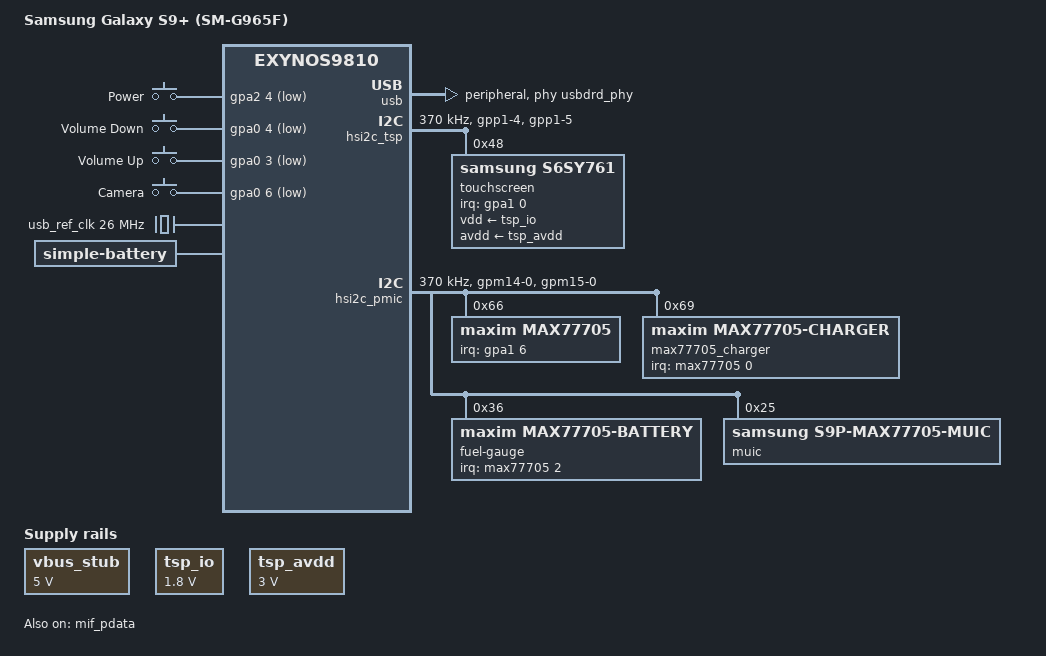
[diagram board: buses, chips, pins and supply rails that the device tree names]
// SPDX-License-Identifier: GPL-2.0 OR BSD-3-Clause
/*
 * Samsung Galaxy S9+ (star2lte/SM-G965F) device tree source
 *
 * Derived from the Galaxy S9 (starlte) source, which shares this board design.
 * The S9+ carries 6 GB instead of 4 GB, so it has one more memory bank; the
 * addresses below are the ones this device's own bootloader reports through
 * update_memory_node(), and the framebuffer base matches the bootloader's
 * s3cfb.bootloaderfb= argument.
 */

/dts-v1/;
#include "exynos9810.dtsi"
#include <dt-bindings/gpio/gpio.h>
#include <dt-bindings/input/input.h>

/* Initial per-MHz capacity calibration on this device, same CoreMark binary:
 * A55: 4174.145 iterations/s at 1150.5 MHz; M3: 7127.076 at 1066 MHz.
 * (4174.145 / 1150.5) / (7127.076 / 1066) * 1024 = 556.
 * CRCs passed and sampled clocks stayed fixed throughout both runs.
 * This is a workload-based capacity estimate, not a power/energy model. */
&cpu0 { capacity-dmips-mhz = <556>; };
&cpu1 { capacity-dmips-mhz = <556>; };
&cpu2 { capacity-dmips-mhz = <556>; };
&cpu3 { capacity-dmips-mhz = <556>; };
&cpu4 { capacity-dmips-mhz = <1024>; };
&cpu5 { capacity-dmips-mhz = <1024>; };
&cpu6 { capacity-dmips-mhz = <1024>; };
&cpu7 { capacity-dmips-mhz = <1024>; };

/ {
	model = "Samsung Galaxy S9+ (SM-G965F)";
	compatible = "samsung,star2lte", "samsung,exynos9810";
	chassis-type = "handset";

	/*
	 * sboot picks its device tree out of the boot image's DTBH table by these
	 * four values, not by "compatible". dtbTool-exynos copies them straight out
	 * of the blob, so without them the entry is all zeroes and the bootloader
	 * finds no match for Star2 rev 26. Values taken from Samsung's own
	 * exynos9810-star2lte_eur_open_26 device tree.
	 */
	model_info-chip = <0x2652>;
	model_info-platform = "android";
	model_info-subtype = "samsung";
	model_info-hw_rev = <0x1a>;
	model_info-hw_rev_end = <0xff>;

	chosen {
		#address-cells = <2>;
		#size-cells = <1>;
		ranges;

		/*
		 * Reachable only when booted through uniLoader. sboot builds
		 * the whole command line itself and overwrites whatever the
		 * boot image carries -- that is why "console=tty0 loglevel=8"
		 * in the boot image header never had any effect. uniLoader
		 * hands the kernel this device tree instead, so /chosen here
		 * is finally the one the kernel reads.
		 */
		bootargs = "console=tty0 loglevel=8 earlycon keep_bootcon ignore_loglevel panic=10";

		framebuffer@cc000000 {
			compatible = "simple-framebuffer";
			reg = <0x0 0xcc000000 (1440 * 2960 * 4)>;
			width = <1440>;
			height = <2960>;
			stride = <(1440 * 4)>;
			format = "a8r8g8b8";
			/* FB-STATUS */
		};
	};

	gpio-keys {
		compatible = "gpio-keys";

		pinctrl-0 = <&key_power &key_voldown &key_volup &key_wink>;
		pinctrl-names = "default";

		power-key {
			label = "Power";
			linux,code = <KEY_POWER>;
			gpios = <&gpa2 4 GPIO_ACTIVE_LOW>;
			wakeup-source;
		};

		voldown-key {
			label = "Volume Down";
			linux,code = <KEY_VOLUMEDOWN>;
			gpios = <&gpa0 4 GPIO_ACTIVE_LOW>;
		};

		volup-key {
			label = "Volume Up";
			linux,code = <KEY_VOLUMEUP>;
			gpios = <&gpa0 3 GPIO_ACTIVE_LOW>;
		};

		/* Bixby on stock firmware; mapped as a camera button for now. */
		wink-key {
			label = "Camera";
			linux,code = <KEY_CAMERA>;
			gpios = <&gpa0 6 GPIO_ACTIVE_LOW>;
		};
	};

	memory@80000000 {
		device_type = "memory";
		reg = <0x0 0x80000000 0x3c800000>,
		      <0x0 0xc0000000 0x20000000>,
		      <0x0 0xe1900000 0x1e700000>,
		      <0x8 0x80000000 0x80000000>,
		      <0x9 0x00000000 0x80000000>;
	};

	reserved-memory {
		#address-cells = <2>;
		#size-cells = <1>;
		ranges;

		/*
		 * Fixed firmware regions from the Samsung DT an SM-G965F runs with
		 * (read back from TWRP's /sys/firmware/fdt). uniLoader
		 * substitutes our DT, so these reservations must be carried over.
		 * Dynamic Android ION heaps are deliberately not copied here.
		 */
		sec-debug@80000000 {
			reg = <0x0 0x80000000 0x2000>;
			no-map; /* debug magic plus sboot's adjacent kaslr_region */
		};

		/* Extent of the log buffers listed in the stock boot arguments. */
		sboot-logs@91202000 {
			reg = <0x0 0x91202000 0x59a000>;
			no-map;
		};

		rkp@af800000 {
			reg = <0x0 0xaf800000 0x1800000>;
			no-map;
		};

		tima@b8000000 {
			reg = <0x0 0xb8000000 0x200000>;
			no-map;
		};

		seclog@c0000000 {
			reg = <0x0 0xc0000000 0x80000>;
			no-map;
		};

		secure-camera@e1900000 {
			reg = <0x0 0xe1900000 0x1e00000>;
			no-map;
		};

		modem@f0000000 {
			reg = <0x0 0xf0000000 0x9200000>;
			no-map;
		};

		cp-logging@f9200000 {
			reg = <0x0 0xf9200000 0x2000000>;
			no-map;
		};

		abox@fb200000 {
			reg = <0x0 0xfb200000 0x2800000>;
			no-map;
		};

		/* Split exynos_ss around our existing ramoops window. */
		snapshot-before-pstore@fda00000 {
			reg = <0x0 0xfda00000 0x1310000>;
			no-map;
		};

		snapshot-after-pstore@fed18000 {
			reg = <0x0 0xfed18000 0xae8000>;
			no-map;
		};

		camera-firmware@ff800000 {
			reg = <0x0 0xff800000 0x800000>;
			no-map;
		};

		framebuffer@cc000000 {
			reg = <0x0 0xcc000000 (1440 * 2960 * 4)>;
			no-map;
		};

		/*
		 * Every scanout buffer has to be one contiguous block below
		 * 4 GB: DECON's fetch address register is 32 bits wide and the
		 * KMS driver hands out drm_gem_dma (CMA) objects. One 1440x2960
		 * XRGB8888 frame is 16.3 MiB, and the compositor needs a triple
		 * buffered surface for the panel, another set for every virtual
		 * monitor the remote desktop adds, plus the fbdev emulation and
		 * this driver's black frame.
		 *
		 * The kernel default of 128 MiB fitted exactly one frame:
		 * measured on the running desktop, the second DRM_IOCTL_MODE_
		 * CREATE_DUMB of that size returned ENOMEM, Mesa logged "Failed
		 * to create scanout resource" and gnome-shell fell back to
		 * copying every frame through the CPU. 320 MiB leaves room for
		 * all of the above even when CMA is fragmented.
		 *
		 * Placed by hand: the region must sit below 4 GB and inside the
		 * gap between sboot-logs (ends 0x9179c000) and rkp (starts
		 * 0xaf800000), which is the largest free stretch down there.
		 */
		display_cma: linux,cma {
			compatible = "shared-dma-pool";
			reg = <0x0 0x98000000 0x14000000>;	/* 320 MiB */
			reusable;
			linux,cma-default;
		};

		/*
		 * Same window and the same split as Samsung's own exynos-snapshot
		 * log_pstore item (ramoops: attached 0x8000@0xfed10000, two 16K
		 * halves, no ECC), so the stock 4.9 kernel in TWRP can read back
		 * what this kernel wrote.
		 *
		 * The second half is a console zone here where Samsung puts pmsg.
		 * Both are plain persistent_ram ring buffers in the same format,
		 * so TWRP surfaces our continuous console log as pmsg-ramoops-0 --
		 * which means a kernel that hangs before it ever panics still
		 * leaves its boot log behind.
		 */
		ramoops@fed10000 {
			compatible = "ramoops";
			reg = <0x0 0xfed10000 0x8000>;
			record-size = <0x4000>;
			console-size = <0x4000>;
			pmsg-size = <0x0>;
			ftrace-size = <0x0>;
			ecc-size = <0x0>;
		};
	};
};

/*
 * There is no CMU driver for this SoC yet. sboot has already set FSYS0 up --
 * it loaded this very image over UFS -- so the rates are described as fixed
 * clocks rather than reprogrammed. UFS_EMBD feeds the UNIPRO mclk, from which
 * the calibration derives every PA timer, so its value has to be the real one.
 */
&{/} {
	/* Enable line from this device's working Samsung DT; voltage is fixed. */
	ufs_vcc: regulator-ufs-vcc {
		compatible = "regulator-fixed";
		regulator-name = "ufs-vcc";
		gpio = <&gpd0 2 GPIO_ACTIVE_HIGH>;
		enable-active-high;
		regulator-boot-on;
		status = "disabled"; /* UFS-STATUS */
	};

	/*
	 * CMU gate registers to open before the I2C drivers probe. From the
	 * vendor cmucal-sfr tables: PERIC0 base 0x10400000, CMGP base
	 * 0x14200000. USI05 is the touch bus at 0x104b0000, USI_CMGP03 the
	 * PMIC bus at 0x14360000.
	 */
	clock-gates {
		compatible = "s9p,clock-gates";
		/*
		 * The touch bus at 0x104b0000 is PERIC0 USI03 (0x10450000 is
		 * USI00, each USI has a "usi" and an "i2c" block 0x10000 apart;
		 * the stock aliases spi4 and hsi2c10 both point here). USI05 is
		 * 0x104f0000. Its SW_CONF is therefore usi_3 = 0x1041101c.
		 */
		s9p,gate-registers = <0x10402018>,	/* GATE_CLK_PERIC0_USI03_USI */
				     <0x14202014>,	/* GATE_CLK_USI_CMGP03 */
				     /* the whole chain above them, CMU top down to the IP ports */
				     <0x1a2420bc>,	/* GATE_CLKCMU_PERIC0_IP (CMU top) */
				     <0x1a242028>,	/* GATE_CLKCMU_CMGP_BUS (CMU top) */
				     <0x104020dc>,	/* USI03_USI IPCLK port */
				     <0x104020e0>,	/* USI03_USI PCLK port */
				     <0x142020a8>,	/* USI_CMGP03 IPCLK port */
				     <0x142020ac>,	/* USI_CMGP03 PCLK port */
		/*
		 * USB: the PHY's reference clocks, same story
		 */
					     <0x1a242064>,	/* GATE_CLKCMU_FSYS0_USB30DRD (CMU top) */
					     <0x1100206c>,	/* FSYS0 USB30DRD_REF_CLK */
					     <0x11002008>;	/* FSYS0 USBDPPHY_REF_SOC_PLL */
		/*
		 * PCIe channel 0 (WiFi) gates are deliberately NOT here: the
		 * FSYS1 PCIe gate and Q-Channel hint registers abort the bus
		 * (synchronous external abort) while the PCIe clock domain is
		 * down -- measured at QCH_CON_PCIE_GEN2_APB 0x1141302c with a
		 * panic in s9p_clkgate_init. The PCIe driver opens what it
		 * needs itself, in vendor order: PMU PCIE_PHY_CONTROL first,
		 * then gates, then the PHY.
		 */
		/*
		 * Both I2C blocks are fed from PLL_SHARED2 (MUX_CLKCMU_PERIC0_IP
		 * and MUX_CLKCMU_CMGP_BUS both select DIV_PLL_SHARED2_DIV2). The
		 * vendor clock framework in TWRP releases that PLL when its last
		 * consumer goes idle, so it may arrive switched off.
		 */
		s9p,pll-enable = <0x1a240220>;		/* PLL_CON0_PLL_SHARED2 */
		/*
		 * The combo PHY has two PMU controls. The driver releases the
		 * USB 2.0 one (0x72c); the vendor also releases the DP/USB3
		 * side (0x704), and the HS part may depend on it.
		 */
		/*
		 * USI blocks: select I2C in the sysreg SW_CONF (bit 2), release
		 * the block reset (USI_CON at +0xc4) and request its clock
		 * (USI_OPTION at +0xc8, bit 1) -- what exynos-usi does on the
		 * SoCs it supports. The gates above were already open; this is
		 * what the vendor's I2C driver did for itself.
		 */
		/*
		 * First of all: Samsung's recovery magic into INFORM2/INFORM3,
		 * long before any driver can crash the kernel. A panic or a
		 * hang then lands in TWRP on RECOVERY instead of restarting
		 * this kernel for ever; a clean reboot rewrites INFORM3
		 * through syscon-reboot-mode anyway.
		 */
		s9p,set-registers = <0x14060808 0x12345678>,	/* PMU INFORM2 */
				    <0x1406080c 0x12345674>,	/* PMU INFORM3 = recovery */
				    /*
				     * DECON HW_SW_TRIG_CONTROL = 0x1281, the
				     * write uniLoader's soc_init() does on this
				     * SoC ("allow framebuffer to be written
				     * to"). Without it the simple framebuffer
				     * in 0xcc000000 updates but the panel never
				     * shows the new content.
				     */
				    <0x16030070 0x1281>,
				    /*
				     * sboot and TWRP's kernel leave both cluster
				     * watchdogs armed. Cluster 0's is stopped here;
				     * cluster 1's stays armed and is taken over by
				     * the watchdog node below, so a boot that wedges
				     * the SoC resets instead of hanging for ever.
				     */
				    <0x10050000 0x0>,	/* WDT cluster 0 WTCON */
				    /*
				     * Arm cluster 1's watchdog here, in the
				     * first instructions of the boot, instead
				     * of trusting whatever sboot left. The
				     * s3c2410_wdt driver takes it over at
				     * 1.3 s, but the warm-reboot hang happens
				     * before that, and an unarmed watchdog
				     * means the device stays on the Samsung
				     * logo until someone holds the buttons.
				     *
				     * 26 MHz / (255+1) / 128 = 793 Hz, so
				     * 23805 counts is 30 s -- twice the normal
				     * time to userspace. WTDAT and WTCNT are
				     * loaded before WTCON starts it.
				     */
				    <0x10060004 23805>,	/* WDT1 WTDAT */
				    <0x10060008 23805>,	/* WDT1 WTCNT */
				    <0x10060000 0xff39>,	/* WDT1 WTCON: pres 255,
								 * div 128, enable, reset */
				    <0x1041101c 0x4>,	/* PERIC0 USI03 SW_CONF: I2C */
				    <0x14212030 0x4>,	/* CMGP USI03 SW_CONF: I2C */
				    <0x104b00c4 0x0>,	/* USI03 USI_CON: reset off */
				    <0x143600c4 0x0>;	/* USI_CMGP03 USI_CON: reset off */
		/*
		 * Unmask the cluster-1 watchdog's reset request in the PMU.
		 * sboot leaves bit 23 of MASK_WDT_RESET_REQUEST set, and with
		 * it set an expired watchdog raises nothing -- which is why
		 * arming the watchdog alone changed nothing about the hang.
		 */
		s9p,clear-registers = <0x1406040c 0x800000>;

		s9p,or-registers = <0x14060704 0x1>,	/* PMU USB3/DP PHY control */
				   <0x104b00c8 0x2>,	/* USI03 USI_OPTION: CLKREQ_ON */
				   <0x143600c8 0x2>;	/* USI_CMGP03 USI_OPTION: CLKREQ_ON */
		/*
		 * Read-only: the muxes and dividers behind the fixed-clock
		 * stand-ins, so the real rates can be worked out from the log.
		 */
		s9p,dump-registers = <0x14060404>,	/* PMU RST_STAT: why we are here */
				     <0x10050000>,	/* WDT0 WTCON */
				     <0x10050004>,	/* WDT0 WTDAT */
				     <0x10050008>,	/* WDT0 WTCNT */
				     <0x10060000>,	/* WDT1 WTCON */
				     <0x10060004>,	/* WDT1 WTDAT */
				     <0x10060008>,	/* WDT1 WTCNT */
				     <0x1a240120>,	/* PLL_CON0_PLL_SHARED0 */
				     <0x1a240220>,	/* PLL_CON0_PLL_SHARED2 */
				     <0x1a2418dc>,	/* DIV_PLL_SHARED0_DIV4 */
				     <0x1a2418ec>,	/* DIV_PLL_SHARED2_DIV2 */
				     <0x1a2410ac>,	/* MUX_CLKCMU_PERIC0_BUS */
				     <0x1a2418b0>,	/* DIV_CLKCMU_PERIC0_BUS */
				     <0x14201004>,	/* MUX_CLK_CMGP_BUS */
				     <0x1a2410b0>,	/* MUX_CLKCMU_PERIC0_IP */
				     <0x1a2418b4>,	/* DIV_CLKCMU_PERIC0_IP */
				     <0x1a2420bc>,	/* GATE_CLKCMU_PERIC0_IP */
				     <0x10400100>,	/* PERIC0 BUS_USER mux */
				     <0x10400120>,	/* PERIC0 IP_USER mux */
				     <0x10401810>,	/* DIV_CLK_PERIC0_USI03_USI */
				     <0x10403038>,	/* QCH_CON_USI03_USI */
				     /* I2C pins as TWRP left them: CON/DAT/PUD */
				     <0x10430020>,	/* gpp1 CON (touch SCL/SDA = gpp1-4/5) */
				     <0x10430024>,	/* gpp1 DAT */
				     <0x10430028>,	/* gpp1 PUD */
				     <0x14220180>,	/* gpm14 CON (PMIC SCL) */
				     <0x14220184>,	/* gpm14 DAT */
				     <0x14220188>,	/* gpm14 PUD */
				     <0x142201a0>,	/* gpm15 CON (PMIC SDA) */
				     <0x142201a4>,	/* gpm15 DAT */
				     <0x142201a8>,	/* gpm15 PUD */
				     <0x1a241028>,	/* MUX_CLKCMU_CMGP_BUS */
				     <0x1a241824>,	/* DIV_CLKCMU_CMGP_BUS */
				     <0x14200100>,	/* CMGP BUS_USER mux */
				     <0x14200120>,	/* CMGP DLL_USER mux */
				     <0x14201018>,	/* MUX_CLK_USI_CMGP03 */
				     <0x14201814>,	/* DIV_CLK_USI_CMGP03 */
				     <0x142020a8>,	/* USI_CMGP03 IPCLK gate */
				     <0x142020ac>,	/* USI_CMGP03 PCLK gate */
				     <0x14203050>,	/* QCH_CON_USI_CMGP03 */
				     <0x1a241060>,	/* MUX_CLKCMU_FSYS0_USB30DRD */
				     <0x1a241858>,	/* DIV_CLKCMU_FSYS0_USB30DRD */
					     <0x110001e0>,	/* FSYS0 USB30DRD_USER mux */
					     <0x1100304c>,	/* QCH USB30DRD_CTRL */
					     <0x11003050>,	/* QCH USB30DRD_LINK */
					     <0x11003054>,	/* QCH USBDPPHY */
					     <0x11003058>,	/* QCH USBPCS */
					     /* PCIe mux/divider/QCH reads abort while the
					      * PCIe domain is down -- see gate-registers note. */
					     <0x14064044>,	/* PMU EMBEDDED_G3D_STATUS */
				     <0x17400140>,	/* PLL_CON0_PLL_G3D */
				     <0x17400100>;	/* MUX_CLKCMU_EMBEDDED_G3D_USER */
	};

	hsi2c_clk_stub: clock-hsi2c-stub {
		compatible = "fixed-clock";
		#clock-cells = <0>;
		clock-frequency = <200000000>;
	};

	/* the cluster watchdogs count on the 26 MHz crystal (stock rate_watchdog = OSCCLK) */
	wdt_clk: clock-wdt {
		compatible = "fixed-clock";
		#clock-cells = <0>;
		clock-frequency = <26000000>;
	};
};

&soc {
	/*
	 * Cluster 1's watchdog, left armed by sboot and taken over here.
	 *
	 * Roughly every second warm reboot out of Ubuntu wedges somewhere in
	 * the driver probe phase -- after the clock gates are opened at 0.28 s
	 * and before the initramfs brings up the USB gadget at about 3 s. No
	 * log survives it (sboot clears the pstore region), and with no
	 * watchdog running the device simply stays on the Samsung logo until
	 * someone holds Power and Volume Down for ten seconds.
	 *
	 * Leaving this one armed turns that into a reset. INFORM3 already
	 * carries the recovery magic by then (the clock-gates node writes it
	 * first thing), so the reset lands in TWRP, which is reachable over
	 * USB instead of needing the buttons.
	 *
	 * Register offsets and the SPI number are from the device's own Samsung
	 * DT (read back from TWRP, node watchdog_cl1). The
	 * exynos7 variant of s3c2410_wdt is the matching one: PMU mask bit 23
	 * at 0x040c and reset status bit 23 at 0x0404.
	 */
	watchdog_cl1: watchdog@10060000 {
		compatible = "samsung,exynos7-wdt";
		reg = <0x10060000 0x100>;
		interrupts = <GIC_SPI 465 IRQ_TYPE_LEVEL_HIGH>;
		clocks = <&wdt_clk>;
		clock-names = "watchdog";
		samsung,syscon-phandle = <&pmu_system_controller>;
		/*
		 * Long enough that the userspace ping (systemd's
		 * RuntimeWatchdogSec) is comfortably inside it even on a slow
		 * boot, short enough that a wedge is over in a minute.
		 */
		timeout-sec = <60>;
	};

	/*
	 * Multi-core timer, in the always-on domain (vendor node mct@10040000,
	 * counting at 26 MHz from sboot). On arm64 mainline registers it below
	 * the arch timer, so ticks and the clocksource stay on the arch timer;
	 * what it adds is its global comparator as the tick broadcast device.
	 * A core powered down by the C2 idle state of extras/cpu-idle loses its
	 * arch timer, and without a real broadcast device the hrtimer fallback
	 * pins whichever core arms it, which then never reaches C2.
	 * SPI 466..469 are the four global comparators, 470..477 the local
	 * timers of CPU0..7.
	 */
	timer@10040000 {
		compatible = "samsung,exynos4210-mct";
		reg = <0x10040000 0x800>;
		interrupts = <GIC_SPI 466 IRQ_TYPE_LEVEL_HIGH>,
			     <GIC_SPI 467 IRQ_TYPE_LEVEL_HIGH>,
			     <GIC_SPI 468 IRQ_TYPE_LEVEL_HIGH>,
			     <GIC_SPI 469 IRQ_TYPE_LEVEL_HIGH>,
			     <GIC_SPI 470 IRQ_TYPE_LEVEL_HIGH>,
			     <GIC_SPI 471 IRQ_TYPE_LEVEL_HIGH>,
			     <GIC_SPI 472 IRQ_TYPE_LEVEL_HIGH>,
			     <GIC_SPI 473 IRQ_TYPE_LEVEL_HIGH>,
			     <GIC_SPI 474 IRQ_TYPE_LEVEL_HIGH>,
			     <GIC_SPI 475 IRQ_TYPE_LEVEL_HIGH>,
			     <GIC_SPI 476 IRQ_TYPE_LEVEL_HIGH>,
			     <GIC_SPI 477 IRQ_TYPE_LEVEL_HIGH>;
		samsung,local-timers = <0 1 2 3 4 5 6 7>;
		clocks = <&wdt_clk>, <&wdt_clk>;
		clock-names = "fin_pll", "mct";
	};
};

/*
 * PSCI CPU_SUSPEND is not validated on this port. The previous idle-state
 * experiment stalled during boot; keep every CPU on architectural WFI.
 * CPU frequency/voltage scaling and GPU DVFS remain independent and enabled.
 */


&{/} {

	/* 26 MHz crystal, the "ext_xtal" the stock PHY node refers to. */
	usb_ref_clk: clock-usb-ref {
		compatible = "fixed-clock";
		#clock-cells = <0>;
		clock-frequency = <26000000>;
	};

	/* Device mode only; the driver insists on the handles regardless. */
	vbus_stub: regulator-vbus-stub {
		compatible = "regulator-fixed";
		regulator-name = "vbus-stub";
		regulator-min-microvolt = <5000000>;
		regulator-max-microvolt = <5000000>;
	};

	battery: battery {
		compatible = "simple-battery";
		device-chemistry = "lithium-ion";
		voltage-min-design-microvolt = <3400000>;
		voltage-max-design-microvolt = <4400000>;
		energy-full-design-microwatt-hours = <13480000>;
		charge-full-design-microamp-hours = <3500000>;
		constant-charge-current-max-microamp = <2150000>;
		constant-charge-voltage-max-microvolt = <4400000>;
	};

	/* Both LDOs are left on by sboot; the driver only needs the handles. */
	tsp_io: regulator-tsp-io {
		compatible = "regulator-fixed";
		regulator-name = "tsp_io";
		regulator-min-microvolt = <1800000>;
		regulator-max-microvolt = <1800000>;
		regulator-always-on;
		regulator-boot-on;
	};

	tsp_avdd: regulator-tsp-avdd {
		compatible = "regulator-fixed";
		regulator-name = "tsp_avdd";
		regulator-min-microvolt = <3000000>;
		regulator-max-microvolt = <3000000>;
		regulator-always-on;
		regulator-boot-on;
	};

	ufs_clk_hci: clock-ufs-hci {
		compatible = "fixed-clock";
		#clock-cells = <0>;
		clock-frequency = <166500000>;
		clock-output-names = "GATE_UFS_EMBD";
	};

	ufs_clk_unipro: clock-ufs-unipro {
		compatible = "fixed-clock";
		#clock-cells = <0>;
		clock-frequency = <166500000>;
		clock-output-names = "UFS_EMBD";
	};
};

&pinctrl_fsys0 {
	ufs_rst_n: ufs-reset {
		samsung,pins = "gpf0-1";
		samsung,pin-function = <2>;
		samsung,pin-pud = <0>;
	};

	ufs_refclk_out: ufs-refclk {
		samsung,pins = "gpf0-0";
		samsung,pin-function = <2>;
		samsung,pin-pud = <0>;
	};
};

&soc {
	sysreg_fsys0: syscon@11010000 {
		compatible = "samsung,exynos9810-fsys0-sysreg", "syscon";
		reg = <0x11010000 0x1000>;
	};

	/*
	 * USB 2.0 PHY. TWRP's kernel powers the PHY down on reboot, so unlike
	 * the UFS clocks it cannot be inherited. The driver replays the vendor
	 * CAL sequence for this exact PHY revision (0x300/0x400) and releases
	 * both PMU isolation bits (0x72c USB2, 0x704 USB3/DP). USB 2.0 only;
	 * the SuperSpeed PMA stays powered down.
	 */
	usbdrd_phy: phy@11100000 {
		compatible = "samsung,exynos9810-usbdrd-phy";
		reg = <0x11100000 0x200>;
		clocks = <&usb_ref_clk>, <&hsi2c_clk_stub>;
		clock-names = "ref", "phy";
		samsung,pmu-syscon = <&pmu_system_controller>;
		#phy-cells = <1>;
	};

	usb: usb@10c00000 {
		compatible = "snps,dwc3";
		reg = <0x10c00000 0x10000>;
		interrupts = <GIC_SPI 244 IRQ_TYPE_LEVEL_HIGH>;
		phys = <&usbdrd_phy 0>;
		phy-names = "usb2-phy";
		dr_mode = "peripheral";
		maximum-speed = "high-speed";
		snps,dis_u2_susphy_quirk;
		snps,dis_u3_susphy_quirk;
		snps,dis-u2-freeclk-exists-quirk;
		snps,quirk-frame-length-adjustment = <0x20>;
		status = "okay";
	};

	/*
	 * Two of the eight HSI2C controllers, for the touch panel and the
	 * MAX77705 PMIC. Both are USIv2 blocks; the s9p clock-gates node above
	 * selects I2C in their SW_CONF and releases the USI reset. The clocks
	 * are fixed-clock stand-ins (stock default-clk = 200 MHz); the rate
	 * only feeds the SCL divider.
	 *
	 * The controller is the "AutoV9" generation of the IP: transfer-done
	 * interrupt in bit 7, 64-deep FIFO, and SCL = IPCLK / ((CLK_DIV+1)*16)
	 * with CLK_DIV in TIMING_FS3[23:16] (vendor exynos5_i2c_set_timing).
	 * The exynos5 flavour waits on the wrong interrupt bit, the 8895
	 * flavour computes a CLK_DIV of 0 (12.5 MHz SCL): both end in
	 * "tx timeout". 370 kHz mirrors the vendor's fast-mode rate.
	 */
	hsi2c_tsp: i2c@104b0000 {
		compatible = "samsung,exynosautov9-hsi2c";
		reg = <0x104b0000 0x1000>;
		interrupts = <GIC_SPI 404 IRQ_TYPE_LEVEL_HIGH>;
		#address-cells = <1>;
		#size-cells = <0>;
		clocks = <&hsi2c_clk_stub>, <&hsi2c_clk_stub>;
		clock-names = "hsi2c", "hsi2c_pclk";
		clock-frequency = <370000>;
		pinctrl-names = "default";
		pinctrl-0 = <&hsi2c10_bus>;
		status = "okay";

		touchscreen@48 {
			compatible = "samsung,s6sy761";
			reg = <0x48>;
			interrupt-parent = <&gpa1>;
			interrupts = <0 IRQ_TYPE_LEVEL_LOW>;
			pinctrl-names = "default";
			pinctrl-0 = <&tsp_irq>;
			vdd-supply = <&tsp_io>;
			avdd-supply = <&tsp_avdd>;
			touchscreen-size-x = <4096>; /* firmware reports 12-bit coordinates, not pixels */
			touchscreen-size-y = <4096>;
		};
	};

	hsi2c_pmic: i2c@14360000 {
		compatible = "samsung,exynosautov9-hsi2c";
		reg = <0x14360000 0x1000>;
		interrupts = <GIC_SPI 6 IRQ_TYPE_LEVEL_HIGH>;
		#address-cells = <1>;
		#size-cells = <0>;
		clocks = <&hsi2c_clk_stub>, <&hsi2c_clk_stub>;
		clock-names = "hsi2c", "hsi2c_pclk";
		clock-frequency = <370000>;
		pinctrl-names = "default";
		pinctrl-0 = <&hsi2c40_bus>;
		status = "okay";

		/*
		 * MAX77705: one external IRQ (gpa1-6) demultiplexed by the
		 * MFD into charger (0), topsys (1), fuel gauge (2), USB-C (3).
		 * Charger and fuel gauge are separate I2C addresses that take
		 * their interrupts from the MFD's domain.
		 */
		max77705: pmic@66 {
			compatible = "maxim,max77705";
			reg = <0x66>;
			interrupt-parent = <&gpa1>;
			interrupts = <6 IRQ_TYPE_LEVEL_LOW>;
			pinctrl-names = "default";
			pinctrl-0 = <&pmic_irq>;
			interrupt-controller;
			#interrupt-cells = <1>;
		};

		max77705_charger: charger@69 {
			compatible = "maxim,max77705-charger";
			reg = <0x69>;
			monitored-battery = <&battery>;
			interrupt-parent = <&max77705>;
			interrupts = <0>;
		};

		fuel-gauge@36 {
			compatible = "maxim,max77705-battery";
			reg = <0x36>;
			maxim,rsns-microohm = <5000>;
			monitored-battery = <&battery>;
			power-supplies = <&max77705_charger>;
			interrupt-parent = <&max77705>;
			interrupts = <2>;
		};

		/*
		 * The Type-C MCU inside the MAX77705. Its D+/D- switches
		 * default to "open" after the reset TWRP's kernel gives it
		 * on reboot; this routes them to the AP so the DWC3 gadget
		 * is visible on the connector.
		 */
		muic@25 {
			compatible = "samsung,s9p-max77705-muic";
			reg = <0x25>;
		};
	};

	ufs: ufs@11120000 {
		compatible = "samsung,exynos9810-ufs";
		reg = <0x11120000 0x200>,	/* standard HCI */
		      <0x11121100 0x200>,	/* vendor specific HCI */
		      <0x11110000 0x8000>,	/* UNIPRO */
		      /*
		       * Stock says 0x100 because the vendor only reaches the
		       * protector through SMC calls. We program its region
		       * registers directly, and those sit at 0x200..0x20c.
		       */
		      <0x11130000 0x300>,	/* UFS protector */
		      <0x11124000 0x800>;	/* PHY (PMA) */
		reg-names = "hci", "vs_hci", "unipro", "ufsp", "pma";
		interrupts = <GIC_SPI 242 IRQ_TYPE_LEVEL_HIGH>;
		pinctrl-names = "default";
		pinctrl-0 = <&ufs_rst_n &ufs_refclk_out>;
		vcc-supply = <&ufs_vcc>;
		clocks = <&ufs_clk_hci>, <&ufs_clk_unipro>;
		clock-names = "GATE_UFS_EMBD", "UFS_EMBD";
		/*
		 * Required, even though nothing here is scaled: without
		 * freq-table-hz, ufshcd_parse_clock_info() logs "freq-table-hz
		 * property not specified" and returns before it builds
		 * clk_list_head at all, so the variant driver then finds no
		 * clocks and fails with -EINVAL. One pair of zeroes per clock
		 * means "present, do not scale" -- which is the only honest
		 * answer while these are fixed-clocks standing in for a CMU
		 * driver.
		 */
		freq-table-hz = <0 0>, <0 0>;
		/* UFS_PHY_CONTROL: bit 0 bypasses the PHY's isolation */
		samsung,pmu-syscon = <&pmu_system_controller 0x724>;
		/* FSYS0 sysreg: IO coherency bits, must match dma-coherent */
		samsung,sysreg = <&sysreg_fsys0 0x700 0x300 0x300>;
		/* Stock DT value. Revision 5 has no alternative refclk path. */
		hw-rev = <5>;
		samsung,pmd-attr-lane = /bits/ 8 <2>;
		samsung,pmd-attr-gear = /bits/ 8 <3>;
		dma-coherent;
		/*
		 * Disabled by default for the same reason as the GPU: without a
		 * CMU driver nothing here knows whether sboot left FSYS0 clocked,
		 * and a read into a gated block hangs the bus silently instead of
		 * failing. The build turns it on with UFS=1.
		 */
		status = "disabled"; /* UFS-STATUS */
	};
};

/*
 * Mali-G72 MP18. sboot leaves the G3D power domain off, so the domain has to
 * come up through the PMU before any register in the block answers -- and a
 * read into an unpowered block is a bus hang, not an error. The node therefore
 * starts disabled and the build turns it on (GPU=1) once the rest of the boot
 * is known good.
 */
&soc {
	/*
	 * DECON0 plus the six DPU_DMA channels. sboot leaves DECON scanning
	 * out the boot framebuffer through DSIM0 with the panel configured;
	 * the s9p-decon driver finds that window and takes the scanout over.
	 * While the node is off, the simple framebuffer in /chosen serves the
	 * display instead; the build switches with DECON=1.
	 */
	decon@16030000 {
		compatible = "samsung,exynos9810-decon";
		reg = <0x16030000 0x10000>,	/* DECON0 + blender windows */
		      <0x16070000 0x7000>;	/* DPU_DMA common + IDMA channels
						 * 0..5 at 0x16071000+0x1000*ch */
		interrupts = <GIC_SPI 182 IRQ_TYPE_LEVEL_HIGH>,	/* frame start */
			     <GIC_SPI 183 IRQ_TYPE_LEVEL_HIGH>,	/* frame done */
			     <GIC_SPI 188 IRQ_TYPE_LEVEL_HIGH>;	/* extra */
		status = "disabled"; /* DECON-STATUS */
	};

	pd_g3d: power-domain@14064040 {
		/*
		 * Own driver: the vendor sequence drives the always-on
		 * CMU_G3D block around the PMU write and has EL3 restore the
		 * domain's TrustZone protection afterwards. The generic
		 * exynos5433-pd (four-bit LOCAL_PWR_CFG, which this is) does
		 * only the PMU part, and the first GPU register access then
		 * ends in an SError.
		 */
		compatible = "samsung,exynos9810-g3d-pd";
		reg = <0x14064040 0x8>,		/* PMU EMBEDDED_G3D_CONFIGURATION/STATUS */
		      <0x17400000 0x2000>,	/* CMU_G3D: PLL_G3D, muxes, dividers */
		      <0x14060000 0x5000>;	/* PMU: vendor G3D low-power prerequisites */
		#power-domain-cells = <0>;
		label = "G3D";
	};

	gpu: gpu@17500000 {
		compatible = "samsung,exynos9810-mali", "arm,mali-bifrost";
		reg = <0x17500000 0x5000>;
		interrupts = <GIC_SPI 282 IRQ_TYPE_LEVEL_HIGH>,
			     <GIC_SPI 281 IRQ_TYPE_LEVEL_HIGH>,
			     <GIC_SPI 283 IRQ_TYPE_LEVEL_HIGH>;
		interrupt-names = "job", "mmu", "gpu";
		clocks = <&g3d_clk>;
		clock-names = "core";
		operating-points-v2 = <&gpu_opp_table>;
		power-domains = <&pd_g3d>;
		status = "disabled"; /* GPU-STATUS */

		/*
		 * The stock DVFS points this port has validated. The voltage
		 * is the same 950 mV at every step on purpose: s9p-g3d holds
		 * BUCK6 there, because the lower stock voltages are what made
		 * Panfrost throw DATA_INVALID_FAULTs. What the lower steps buy
		 * is dynamic power and heat, which is the part that matters
		 * when the compositor needs a few milliseconds of GPU a frame.
		 *
		 * The table has to be a child of the GPU node, not a sibling.
		 * fw_devlink treats operating-points-v2 as a supplier link, and
		 * a standalone table node never gets a driver -- measured, that
		 * held the GPU's probe back until the deferred-probe timeout
		 * expired 14 seconds into the boot, by which time gdm had
		 * already started the session without a render node and the
		 * desktop fell over. As a child the link is internal and the
		 * GPU probes immediately.
		 */
		gpu_opp_table: opp-table {
			compatible = "operating-points-v2";

			opp-260000000 {
				opp-hz = /bits/ 64 <260000000>;
				opp-microvolt = <950000>;
			};
			opp-455000000 {
				opp-hz = /bits/ 64 <455000000>;
				opp-microvolt = <950000>;
			};
			opp-572000000 {
				opp-hz = /bits/ 64 <572000000>;
				opp-microvolt = <950000>;
			};
		};
	};
};

&{/} {
	/*
	 * The G3D PLL as a clock, provided by s9p-g3d. Describing it as a
	 * fixed 26 MHz clock (which is what the mux reads out of reset) left
	 * Panfrost with no operating points, so it never built a devfreq and
	 * the PLL stayed at its 572 MHz maximum for the whole uptime -- the
	 * GPU drew full power while the desktop was idle.
	 */
	g3d_clk: clock-g3d {
		compatible = "samsung,exynos9810-g3d-clock";
		#clock-cells = <0>;
		clock-output-names = "g3d";
	};
};

/*
 * PCIe channel 0: the WiFi root complex (BCM4361). Channel 1 at 0x116b0000
 * belongs to the modem and is not described here.
 *
 * No clock driver: the FSYS1/CMU gates the block sits behind are opened by
 * the global clock-gates node above (register list in its comment). The PHY
 * is not a struct phy provider either; the driver replays Samsung's CAL
 * sequence (pci-exynos9810_cal.c, channel 0) through the phy/pcs windows
 * and the ELBI reset lines, after releasing the PHY's PMU isolation.
 *
 * use-cache-coherency = true in Samsung's tree: the FSYS1 sysreg snoop bits
 * (+0x700 [9:8], set sharable by the driver) put this master in the SSK
 * domain, hence dma-coherent. No dma-ranges: like the stock tree this RC
 * passes endpoint DMA through untranslated (PCI address = physical RAM
 * address); the device is 32-bit DMA capable and the sub-4 GB banks cover
 * it.
 *
 * Legacy INTx only, like the stock tree (use-msi = "false"): the BCM4361
 * firmware does not signal MSI. INTA-D of the endpoint map onto the port's
 * own interrupt-controller child; the driver dispatches them from the
 * ELBI pulse status behind the one GIC line.
 *
 * The node starts disabled: a read into a gated, unpowered block is a bus
 * hang, not an error, and PERST# drives a module. The build turns it on
 * with WLAN=1.
 */
&soc {
	sysreg_fsys1: syscon@11410000 {
		compatible = "samsung,exynos9810-fsys1-sysreg", "syscon";
		/* size from the stock DT; covers +0x700 snoop and +0x1044 PHY window */
		reg = <0x11410000 0x1200>;
	};

	pcie_wlan: pcie@116a0000 {
		compatible = "samsung,exynos9810-pcie";
		reg = <0x116a0000 0x1000>,	/* elbi */
		      <0x116d0000 0x1000>,	/* phy (PMA) */
		      <0x116c0000 0x1fc>,	/* pcs */
		      <0x11700000 0x1000>,	/* dbi */
		      <0x127fe000 0x2000>;	/* config window */
		reg-names = "elbi", "phy", "pcs", "dbi", "config";
		interrupts = <GIC_SPI 253 IRQ_TYPE_LEVEL_HIGH>;
		interrupt-names = "intr";
		#address-cells = <3>;
		#size-cells = <2>;
		device_type = "pci";
		/* stock tree: 16 MB MEM window, identity mapped, no I/O window */
		ranges = <0x82000000 0x0 0x11800000 0x11800000 0x0 0xff0000>;
		#interrupt-cells = <1>;
		interrupt-map-mask = <0 0 0 0x7>;
		interrupt-map = <0 0 0 1 &pcie_wlan_intc 0>,
				<0 0 0 2 &pcie_wlan_intc 1>,
				<0 0 0 3 &pcie_wlan_intc 2>,
				<0 0 0 4 &pcie_wlan_intc 3>;
		num-lanes = <1>;
		max-link-speed = <2>;		/* Gen2 */
		samsung,pmu-syscon = <&pmu_system_controller>;
		samsung,fsys-sysreg = <&sysreg_fsys1>;
		perst-gpios = <&gpf2 2 GPIO_ACTIVE_LOW>;
		enable-gpios = <&gpg0 5 GPIO_ACTIVE_HIGH>;	/* WL_REG_ON, 100 ms before power-on */
		pinctrl-names = "default";
		pinctrl-0 = <&pcie0_clkreq &pcie0_perst>;
		/*
		 * Not dma-coherent: with the property set, the dongle read
		 * stale RAM for every host-to-dongle ring item (each one came
		 * back as ring status BADOPTION) while its own writes to the
		 * host arrived fine. Cache maintenance around DMA costs little
		 * at this link's data rates.
		 */
		status = "disabled"; /* WLAN-STATUS */

		pcie_wlan_intc: legacy-interrupt-controller {
			interrupt-controller;
			#address-cells = <0>;
			#interrupt-cells = <1>;
		};
	};
};

&oscclk {
	clock-frequency = <26000000>;
};

&pmu_system_controller {
	/*
	 * sboot reads its boot target out of INFORM3 (PMU + 0x80c) using
	 * Samsung's sec_reboot magic; INFORM2 has to say "this was a reset",
	 * or the bootloader drops into low-power charging instead.
	 */
	reboot-mode {
		compatible = "syscon-reboot-mode";
		offset = <0x080c>;
		mode-normal = <0x12345670>;
		mode-recovery = <0x12345674>;
		mode-download = <0x12345671>;
		mode-bootloader = <0x1234567d>;
	};
};

/* I2C pin groups, straight from the stock device tree (function 2, no pull). */
&pinctrl_peric0 {
	hsi2c10_bus: hsi2c10-bus-pins {
		samsung,pins = "gpp1-4", "gpp1-5";
		samsung,pin-function = <2>;
		samsung,pin-pud = <EXYNOS_PIN_PULL_NONE>;
		samsung,pin-drv = <EXYNOS5420_PIN_DRV_LV1>;
	};
};

&pinctrl_cmgp {
	hsi2c40_bus: hsi2c40-bus-pins {
		samsung,pins = "gpm14-0", "gpm15-0";
		samsung,pin-function = <EXYNOS_PIN_FUNC_2>;
		samsung,pin-pud = <EXYNOS_PIN_PULL_NONE>;
		samsung,pin-drv = <EXYNOS5420_PIN_DRV_LV1>;
	};
};

/* PCIe channel 0 pins, straight from the stock device tree (FSYS1 banks). */
&pinctrl_fsys1 {
	pcie0_clkreq: pcie0-clkreq-pins {
		samsung,pins = "gpf2-0";
		samsung,pin-function = <EXYNOS_PIN_FUNC_2>;
		samsung,pin-pud = <EXYNOS_PIN_PULL_UP>;
		samsung,pin-drv = <EXYNOS5420_PIN_DRV_LV3>;
	};

	/* PERST#: clamped low (= asserted) from pinctrl apply time on */
	pcie0_perst: pcie0-perst-pins {
		samsung,pins = "gpf2-2";
		samsung,pin-function = <EXYNOS_PIN_FUNC_OUTPUT>;
		samsung,pin-drv = <EXYNOS5420_PIN_DRV_LV3>;
	};
};

&pinctrl_alive {
	tsp_irq: tsp-irq-pins {
		samsung,pins = "gpa1-0";
		samsung,pin-function = <EXYNOS_PIN_FUNC_EINT>;
		samsung,pin-pud = <EXYNOS_PIN_PULL_NONE>;
		samsung,pin-drv = <EXYNOS5420_PIN_DRV_LV1>;
	};

	pmic_irq: pmic-irq-pins {
		samsung,pins = "gpa1-6";
		samsung,pin-function = <EXYNOS_PIN_FUNC_EINT>;
		samsung,pin-pud = <EXYNOS_PIN_PULL_NONE>;
		samsung,pin-drv = <EXYNOS5420_PIN_DRV_LV1>;
	};

	key_power: key-power-pins {
		samsung,pins = "gpa2-4";
		samsung,pin-function = <EXYNOS_PIN_FUNC_EINT>;
		samsung,pin-pud = <EXYNOS_PIN_PULL_UP>;
		samsung,pin-drv = <EXYNOS5420_PIN_DRV_LV1>;
	};

	key_voldown: key-voldown-pins {
		samsung,pins = "gpa0-4";
		samsung,pin-function = <EXYNOS_PIN_FUNC_EINT>;
		samsung,pin-pud = <EXYNOS_PIN_PULL_UP>;
		samsung,pin-drv = <EXYNOS5420_PIN_DRV_LV1>;
	};

	key_volup: key-volup-pins {
		samsung,pins = "gpa0-3";
		samsung,pin-function = <EXYNOS_PIN_FUNC_EINT>;
		samsung,pin-pud = <EXYNOS_PIN_PULL_UP>;
		samsung,pin-drv = <EXYNOS5420_PIN_DRV_LV1>;
	};

	key_wink: key-wink-pins {
		samsung,pins = "gpa0-6";
		samsung,pin-function = <EXYNOS_PIN_FUNC_EINT>;
		samsung,pin-pud = <EXYNOS_PIN_PULL_UP>;
		samsung,pin-drv = <EXYNOS5420_PIN_DRV_LV1>;
	};
};

/*
 * Modem (Shannon CP): the nodes Samsung's modem_v1, mcu_ipc and shm_ipc
 * drivers read (src/modem, s9p-modem.ko), copied from the SM-G965F's stock
 * device tree. Dropped: phandles, and the gpios/pinctrl of boards with an
 * external modem (the CP is on-chip here). The CP regions themselves are
 * the reserved-memory nodes modem@f0000000 and cp-logging@f9200000 above.
 */
&{/} {
	mcu_ipc@14170000 {
		compatible = "samsung,exynos-shd-ipc-mailbox";
		reg = <0x0 0x14170000 0x180>;
		mcu,name = "mcu_ipc_cp";
		mcu,id = <0x0>;
		interrupts = <GIC_SPI 69 IRQ_TYPE_LEVEL_HIGH>;
		mcu,irq_affinity_mask = <0x3>;
	};
	shmem@f6e00000 {
		compatible = "samsung,exynos-shm_ipc";
		shmem,cp_size = <0x7900000>;
		shmem,vss_size = <0x700000>;
		shmem,ipc_offset = <0x8000000>;
		shmem,ipc_size = <0x500000>;
		shmem,zmb_offset = <0x8500000>;
		shmem,zmb_size = <0xb00000>;
	};
	mif_pdata {
		reg = <0x0 0x10000 0x0>;
		compatible = "sec_modem,modem_pdata";
		status = "okay";
		interrupts = <GIC_SPI 74 IRQ_TYPE_LEVEL_HIGH>, <GIC_SPI 440 IRQ_TYPE_LEVEL_HIGH>;
		mif,name = "ss360ap";
		mif,modem_net = <0x0>;
		mif,modem_type = <0xa>;
		mif,use_handover = <0x0>;
		mif,ipc_version = <0x32>;
		mif,link_types = <0x200>;
		mif,link_name = "shmem";
		mif,link_attrs = <0x7c9>;
		mif,num_iodevs = <0x15>;
		mif,buff_offset = <0x500000>;
		mif,buff_size = <0x900000>;
		mbx_ap2cp_msg = <0x0>;
		mbx_cp2ap_msg = <0x1>;
		mbx_ap2cp_united_status = <0x2>;
		mbx_cp2ap_united_status = <0x3>;
		mbx_ap2cp_mif_value = <0x4>;
		mbx_ap2cp_kerneltime = <0x9>;
		mif,int_ap2cp_msg = <0x0>;
		mif,int_ap2cp_wakeup = <0x1>;
		mif,int_ap2cp_status = <0x2>;
		mif,int_ap2cp_active = <0x3>;
		mif,int_ap2cp_smapper = <0x4>;
		mif,irq_cp2ap_msg = <0x0>;
		mif,irq_cp2ap_status = <0x2>;
		mif,irq_cp2ap_active = <0x3>;
		mif,irq_cp2ap_smapper = <0x4>;
		mif,irq_cp2ap_wakelock = <0x8>;
		mif,irq_cp2ap_ratmode = <0x9>;
		mbx_cp2ap_dvfsreq_cpu = <0x5>;
		mbx_cp2ap_dvfsreq_mif = <0x6>;
		mbx_cp2ap_dvfsreq_int = <0x7>;
		mif,irq_cp2ap_perf_req_cpu = <0x5>;
		mif,irq_cp2ap_perf_req_mif = <0x6>;
		mif,irq_cp2ap_perf_req_int = <0x7>;
		sbi_cp_rat_mode_mask = <0x3f>;
		sbi_cp_rat_mode_pos = <0x1a>;
		sbi_cp_evs_mode_mask = <0x1>;
		sbi_cp_evs_mode_pos = <0x7>;
		sbi_cp_wakelock_mask = <0x1>;
		sbi_cp_wakelock_pos = <0x6>;
		sbi_lte_active_mask = <0x1>;
		sbi_lte_active_pos = <0x5>;
		sbi_cp_status_mask = <0xf>;
		sbi_cp_status_pos = <0x1>;
		sbi_cp_smapper_mask = <0x1>;
		sbi_cp_smapper_pos = <0x4>;
		sbi_cp2ap_wakelock_mask = <0x1>;
		sbi_cp2ap_wakelock_pos = <0x6>;
		sbi_pda_active_mask = <0x1>;
		sbi_pda_active_pos = <0x5>;
		sbi_ap_status_mask = <0xf>;
		sbi_ap_status_pos = <0x1>;
		sbi_ap2cp_wakelock_mask = <0x1>;
		sbi_ap2cp_wakelock_pos = <0x0>;
		sbi_crash_type_mask = <0xf>;
		sbi_crash_type_pos = <0x17>;
		sbi_device_type_mask = <0x1f>;
		sbi_device_type_pos = <0x12>;
		sbi_ext_backtrace_mask = <0x1>;
		sbi_ext_backtrace_pos = <0x11>;
		sbi_ds_det_mask = <0x3>;
		sbi_ds_det_pos = <0xe>;
		sbi_sys_rev_mask = <0xff>;
		sbi_sys_rev_pos = <0x6>;
		sbi_lockval_cp2ap_dvfsreq_endian_mask = <0x1>;
		sbi_lockval_cp2ap_dvfsreq_endian_pos = <0x1f>;
		sbi_lockval_cp2ap_dvfsreq_index_mask = <0x7fff>;
		sbi_lockval_cp2ap_dvfsreq_index_pos = <0x0>;
		sbi_ap2cp_kerneltime_sec_mask = <0xfff>;
		sbi_ap2cp_kerneltime_sec_pos = <0x14>;
		sbi_ap2cp_kerneltime_usec_mask = <0xfffff>;
		sbi_ap2cp_kerneltime_usec_pos = <0x0>;

		iodevs {

			io_device_0 {
				iod,name = "umts_cass";
				iod,id = <0x23>;
				iod,format = <0x1>;
				iod,io_type = <0x0>;
				iod,links = <0x200>;
				iod,attrs = <0x82>;
				iod,max_tx_size = <0x800>;
				iod,ul_num_buffers = <0x10>;
				iod,ul_buffer_size = <0x800>;
				iod,dl_num_buffers = <0x10>;
				iod,dl_buffer_size = <0x800>;
			};

			io_device_1 {
				iod,name = "umts_ipc0";
				iod,id = <0xeb>;
				iod,format = <0x0>;
				iod,io_type = <0x0>;
				iod,links = <0x200>;
				iod,attrs = <0x82>;
				iod,app = "RIL";
				iod,ul_num_buffers = <0x10>;
				iod,ul_buffer_size = <0x1000>;
				iod,dl_num_buffers = <0x20>;
				iod,dl_buffer_size = <0x1000>;
			};

			io_device_2 {
				iod,name = "umts_ipc1";
				iod,id = <0xec>;
				iod,format = <0x0>;
				iod,io_type = <0x0>;
				iod,links = <0x200>;
				iod,attrs = <0x82>;
				iod,app = "RIL";
				iod,ul_num_buffers = <0x10>;
				iod,ul_buffer_size = <0x1000>;
				iod,dl_num_buffers = <0x20>;
				iod,dl_buffer_size = <0x1000>;
			};

			io_device_3 {
				iod,name = "umts_rfs0";
				iod,id = <0xf5>;
				iod,format = <0x2>;
				iod,io_type = <0x0>;
				iod,links = <0x200>;
				iod,attrs = <0x82>;
				iod,app = "RFS";
				iod,ul_num_buffers = <0x10>;
				iod,ul_buffer_size = <0x800>;
				iod,dl_num_buffers = <0x200>;
				iod,dl_buffer_size = <0x800>;
			};

			io_device_4 {
				iod,name = "umts_csd";
				iod,id = <0x1>;
				iod,format = <0x1>;
				iod,io_type = <0x0>;
				iod,links = <0x200>;
				iod,attrs = <0x82>;
				iod,app = "CSVT";
				iod,ul_num_buffers = <0x20>;
				iod,ul_buffer_size = <0x800>;
				iod,dl_num_buffers = <0x40>;
				iod,dl_buffer_size = <0x800>;
			};

			io_device_5 {
				iod,name = "umts_router";
				iod,id = <0x19>;
				iod,format = <0x1>;
				iod,io_type = <0x0>;
				iod,links = <0x200>;
				iod,attrs = <0x82>;
				iod,app = "Data Router";
				iod,ul_num_buffers = <0x10>;
				iod,ul_buffer_size = <0x800>;
				iod,dl_num_buffers = <0x10>;
				iod,dl_buffer_size = <0x800>;
			};

			io_device_6 {
				iod,name = "umts_dm0";
				iod,id = <0x1c>;
				iod,format = <0x1>;
				iod,io_type = <0x0>;
				iod,links = <0x200>;
				iod,attrs = <0x82>;
				iod,app = "DIAG";
				iod,ul_num_buffers = <0x10>;
				iod,ul_buffer_size = <0x800>;
				iod,dl_num_buffers = <0x80>;
				iod,dl_buffer_size = <0x800>;
			};

			io_device_7 {
				iod,name = "rmnet0";
				iod,id = <0xa>;
				iod,format = <0x1>;
				iod,io_type = <0x1>;
				iod,links = <0x200>;
				iod,attrs = <0x180>;
				iod,app = "NET";
				iod,ul_num_buffers = <0x0>;
				iod,ul_buffer_size = <0x800>;
				iod,dl_num_buffers = <0x0>;
				iod,dl_buffer_size = <0x800>;
			};

			io_device_8 {
				iod,name = "rmnet1";
				iod,id = <0xb>;
				iod,format = <0x1>;
				iod,io_type = <0x1>;
				iod,links = <0x200>;
				iod,attrs = <0x180>;
				iod,app = "NET";
				iod,ul_num_buffers = <0x0>;
				iod,ul_buffer_size = <0x800>;
				iod,dl_num_buffers = <0x0>;
				iod,dl_buffer_size = <0x800>;
			};

			io_device_9 {
				iod,name = "rmnet2";
				iod,id = <0xc>;
				iod,format = <0x1>;
				iod,io_type = <0x1>;
				iod,links = <0x200>;
				iod,attrs = <0x180>;
				iod,app = "NET";
				iod,ul_num_buffers = <0x0>;
				iod,ul_buffer_size = <0x800>;
				iod,dl_num_buffers = <0x0>;
				iod,dl_buffer_size = <0x800>;
			};

			io_device_10 {
				iod,name = "rmnet3";
				iod,id = <0xd>;
				iod,format = <0x1>;
				iod,io_type = <0x1>;
				iod,links = <0x200>;
				iod,attrs = <0x180>;
				iod,app = "NET";
				iod,ul_num_buffers = <0x0>;
				iod,ul_buffer_size = <0x800>;
				iod,dl_num_buffers = <0x0>;
				iod,dl_buffer_size = <0x800>;
			};

			io_device_11 {
				iod,name = "rmnet4";
				iod,id = <0xe>;
				iod,format = <0x1>;
				iod,io_type = <0x1>;
				iod,links = <0x200>;
				iod,attrs = <0x180>;
				iod,ul_num_buffers = <0x0>;
				iod,ul_buffer_size = <0x800>;
				iod,dl_num_buffers = <0x0>;
				iod,dl_buffer_size = <0x800>;
			};

			io_device_12 {
				iod,name = "rmnet5";
				iod,id = <0xf>;
				iod,format = <0x1>;
				iod,io_type = <0x1>;
				iod,links = <0x200>;
				iod,attrs = <0x180>;
				iod,ul_num_buffers = <0x0>;
				iod,ul_buffer_size = <0x800>;
				iod,dl_num_buffers = <0x0>;
				iod,dl_buffer_size = <0x800>;
			};

			io_device_13 {
				iod,name = "rmnet6";
				iod,id = <0x10>;
				iod,format = <0x1>;
				iod,io_type = <0x1>;
				iod,links = <0x200>;
				iod,attrs = <0x180>;
				iod,ul_num_buffers = <0x0>;
				iod,ul_buffer_size = <0x800>;
				iod,dl_num_buffers = <0x0>;
				iod,dl_buffer_size = <0x800>;
			};

			io_device_14 {
				iod,name = "rmnet7";
				iod,id = <0x11>;
				iod,format = <0x1>;
				iod,io_type = <0x1>;
				iod,links = <0x200>;
				iod,attrs = <0x180>;
				iod,ul_num_buffers = <0x0>;
				iod,ul_buffer_size = <0x800>;
				iod,dl_num_buffers = <0x0>;
				iod,dl_buffer_size = <0x800>;
			};

			io_device_15 {
				iod,name = "multipdp_hiprio";
				iod,id = <0x0>;
				iod,format = <0x3>;
				iod,io_type = <0x2>;
				iod,links = <0x200>;
				iod,attrs = <0x180>;
				iod,app = "RIL";
				iod,ul_num_buffers = <0x100>;
				iod,ul_buffer_size = <0x800>;
				iod,dl_num_buffers = <0x100>;
				iod,dl_buffer_size = <0x800>;
			};

			io_device_16 {
				iod,name = "multipdp";
				iod,id = <0x0>;
				iod,format = <0x3>;
				iod,io_type = <0x2>;
				iod,links = <0x200>;
				iod,attrs = <0x3180>;
				iod,app = "RIL";
				iod,ul_num_buffers = <0x200>;
				iod,ul_buffer_size = <0x800>;
				iod,dl_num_buffers = <0x800>;
				iod,dl_buffer_size = <0x8>;
			};

			io_device_17 {
				iod,name = "umts_boot0";
				iod,id = <0xd7>;
				iod,format = <0x4>;
				iod,io_type = <0x0>;
				iod,links = <0x200>;
				iod,attrs = <0x2>;
				iod,app = "CBD";
			};

			io_device_18 {
				iod,name = "umts_ramdump0";
				iod,id = <0xe1>;
				iod,format = <0x5>;
				iod,io_type = <0x0>;
				iod,links = <0x200>;
				iod,attrs = <0x202>;
				iod,app = "CBD";
			};

			io_device_19 {
				iod,name = "smd4";
				iod,id = <0x21>;
				iod,format = <0x1>;
				iod,io_type = <0x0>;
				iod,links = <0x200>;
				iod,attrs = <0x882>;
				iod,ul_num_buffers = <0x10>;
				iod,ul_buffer_size = <0x800>;
				iod,dl_num_buffers = <0x80>;
				iod,dl_buffer_size = <0x800>;
				iod,option_region = "kor_skt";
			};

			io_device_20 {
				iod,name = "umts_ciq0";
				iod,id = <0x1a>;
				iod,format = <0x1>;
				iod,io_type = <0x0>;
				iod,links = <0x200>;
				iod,attrs = <0x882>;
				iod,ul_num_buffers = <0x10>;
				iod,ul_buffer_size = <0x800>;
				iod,dl_num_buffers = <0x80>;
				iod,dl_buffer_size = <0x800>;
				iod,option_region = "usa_att";
			};
		};
	};
};
